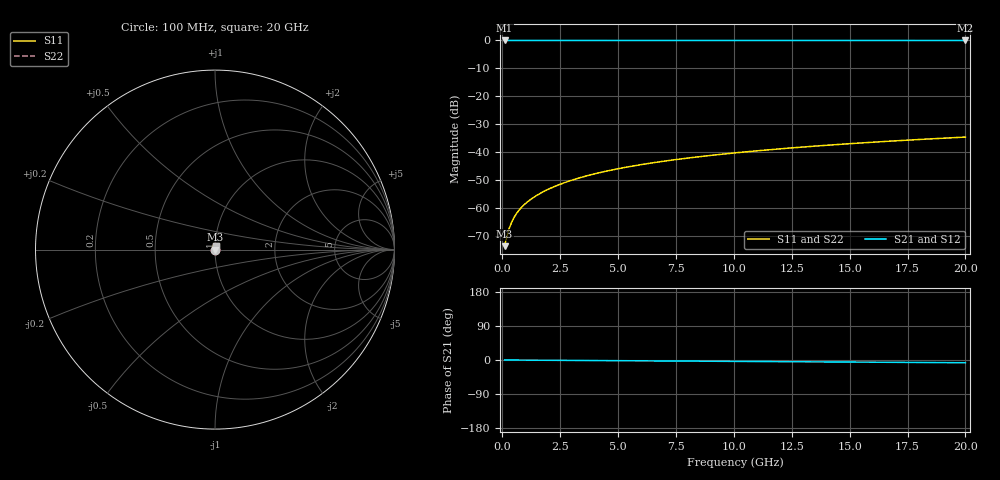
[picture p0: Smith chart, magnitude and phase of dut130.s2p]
! Touchstone file exported from HFSS 2026.1.0
!  File:  C:/ffzhzh/LocalFiles/Ansys_Project_Files/temp_train_TSV_130_1782990141_41620.aedt
!  Generated:  07:03:43 PM Jul  2, 2026
!  Design:  TSV
!  Project:  temp_train_TSV_130_1782990141_41620
! Variables:
!  h_bsmrdl = 2um
!  h_ox = 20um
!  h_rdl = 5um
!  h_sub = 70.9um
!  h_tmrdl = 5um
!  h_tsv = 70.9um
!  h_via = 3um
!  l_bsmrdl = 300um
!  l_sub = 416.14um
!  l_tmrdl = 200um
!  m_sub = 200um
!  pitch = 38.9um
!  r_tsv = 8.07um
!  s_tmrdl = 10um
!  w_bsmrdl = 18um
!  w_sub = 500um
!  w_tmrdl = 12um
!  x_tsv_center1 = 206um
!  x_tsv_center2 = 524um
!  x_tsv_center3 = 736um
!  x_tsv_center4 = 1054um
!  x_tsv_center5 = 1266um
!  x_tsv_center6 = 1584um
# GHz S MA R 50.000000
! Terminal data exported
! Port[1] = TSV1_1_T1
! Port[2] = TSV1_1_T2
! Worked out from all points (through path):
!   200 points, 100 MHz to 20 GHz, reference 50 ohm
!   highest |S21| = 0.00 dB at 100 MHz (marker M1); lowest = 0.0 dB at 20 GHz (marker M2)
!   group delay of S21, straight-line fit = 1 ps
!   lowest |S11| = -73.5 dB at 100 MHz (marker M3), VSWR 1.00, Z = 50 + j0.0135 ohm
!   |S11| at or under -10 dB: start of sweep to end of sweep
!   |S22| runs from -73.5 to -34.5 dB; largest |S21 - S12| = 5.6e-15
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0.1  0.0002105 39.7  0.9998 -0.0  0.9998 -0.0  0.0002105 39.7
! Gamma 0 0 0 0
! Port Impedance 50 0 50 0
0.2  0.0003179 57.1  0.9998 -0.1  0.9998 -0.1  0.0003179 57.1
0.3  0.0004378 64.4  0.9998 -0.1  0.9998 -0.1  0.0004378 64.4
0.4  0.0005585 68.0  0.9998 -0.2  0.9998 -0.2  0.0005585 68.0
0.5  0.0006762 70.0  0.9998 -0.2  0.9998 -0.2  0.0006762 70.0
0.6  0.0007902 71.2  0.9997 -0.2  0.9997 -0.2  0.0007902 71.2
0.7  0.0009005 72.1  0.9997 -0.3  0.9997 -0.3  0.0009005 72.1
0.8  0.001008 72.8  0.9997 -0.3  0.9997 -0.3  0.001008 72.8
1  0.001215 74.0  0.9997 -0.4  0.9997 -0.4  0.001215 74.0
1.4  0.001615 75.8  0.9996 -0.5  0.9996 -0.5  0.001615 75.8
1.7  0.00191 76.8  0.9996 -0.6  0.9996 -0.6  0.00191 76.8
2  0.002203 77.6  0.9996 -0.7  0.9996 -0.7  0.002203 77.6
2.7  0.002887 79.0  0.9995 -1.0  0.9995 -1.0  0.002887 79.0
3.5  0.003664 79.8  0.9994 -1.3  0.9994 -1.3  0.003664 79.8
4.2  0.004337 80.3  0.9994 -1.5  0.9994 -1.5  0.004337 80.3
5  0.005098 80.5  0.9993 -1.8  0.9993 -1.8  0.005098 80.5
6.8  0.006787 80.8  0.9992 -2.5  0.9992 -2.5  0.006787 80.8
8.3  0.008175 80.8  0.9991 -3.0  0.9991 -3.0  0.008175 80.8
10.1  0.009829 80.7  0.999 -3.7  0.999 -3.7  0.009829 80.7
13.4  0.01284 80.2  0.9988 -4.9  0.9988 -4.9  0.01284 80.2
16.7  0.01582 79.5  0.9986 -6.0  0.9986 -6.0  0.01582 79.5
20  0.01877 78.6  0.9985 -7.2  0.9985 -7.2  0.01877 78.6
